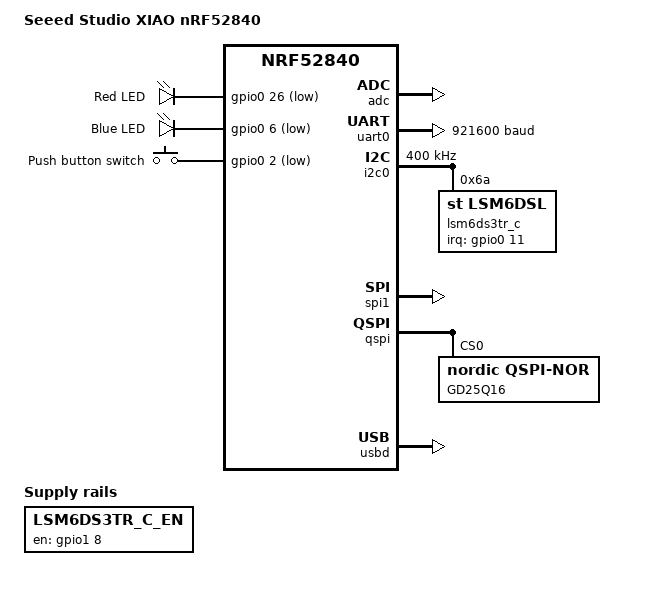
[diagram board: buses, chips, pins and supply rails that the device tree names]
/*
 * Copyright (c) 2020 Tobias Svehagen
 *
 * SPDX-License-Identifier: Apache-2.0
 */

/dts-v1/;
#include <nordic/nrf52840_qiaa.dtsi>
#include <zephyr/dt-bindings/i2c/i2c.h>
#include <zephyr/dt-bindings/gpio/nordic-nrf-gpio.h>
#include "seeed_xiao_nrf52840-pinctrl.dtsi"

/ {
	model = "Seeed Studio XIAO nRF52840";
	compatible = "seeed,xiao-nrf52840";

	chosen {
		zephyr,console = &uart0;
		zephyr,shell-uart = &uart0;
		zephyr,uart-mcumgr = &uart0;
		zephyr,bt-mon-uart = &uart0;
		zephyr,bt-c2h-uart = &uart0;
		zephyr,sram = &sram0;
		zephyr,flash = &flash0;
		zephyr,code-partition = &code_partition;
	};

	leds {
		compatible = "gpio-leds";
		led0: led_0 {
			gpios = <&gpio0 26 GPIO_ACTIVE_LOW>;
			label = "Red LED";
		};
		led1: led_1 {
			gpios = <&gpio0 6 GPIO_ACTIVE_LOW>;
			label = "Blue LED";
		};
	};

	buttons {
		compatible = "gpio-keys";
		button0: button_0 {
			gpios = <&gpio0 2 (GPIO_PULL_UP | GPIO_ACTIVE_LOW)>;
			label = "Push button switch";
		};
	};

	/* These aliases are provided for compatibility with samples */
	aliases {
		led0 = &led0;
		led1 = &led1;
		sw0 = &button0;
		accel0 = &lsm6ds3tr_c;
	};

	lsm6ds3tr-c-en {
		compatible = "regulator-fixed-sync", "regulator-fixed";
		enable-gpios = <&gpio1 8 (NRF_GPIO_DRIVE_S0H1 | GPIO_ACTIVE_HIGH)>;
		regulator-name = "LSM6DS3TR_C_EN";
		regulator-boot-on;
		regulator-always-on;
		startup-delay-us = <10000>;
	};
};

&adc {
	status = "okay";
};

&gpiote {
	status = "okay";
};

&gpio0 {
	status = "okay";
};

&gpio1 {
	status = "okay";
};

&uart0 {
	compatible = "nordic,nrf-uart";
	current-speed = <921600>;
	status = "okay";
	pinctrl-0 = <&uart0_default>;
	pinctrl-1 = <&uart0_sleep>;
	pinctrl-names = "default", "sleep";
};

&i2c0 {
	compatible = "nordic,nrf-twim";
	/* Cannot be used together with spi0. */
	status = "okay";
	pinctrl-0 = <&i2c0_default>;
	pinctrl-1 = <&i2c0_sleep>;
	pinctrl-names = "default", "sleep";
	clock-frequency = <I2C_BITRATE_FAST>;
	
	zephyr,concat-buf-size = <48>;

	lsm6ds3tr_c: lsm6ds3tr-c@6a {
		compatible = "st,lsm6dsl";
		reg = <0x6a>;
		irq-gpios = <&gpio0 11 GPIO_ACTIVE_HIGH>;
		status = "okay";
	};
};

&spi1 {
	compatible = "nordic,nrf-spi";
	status = "okay";
	pinctrl-0 = <&spi1_default>;
	pinctrl-1 = <&spi1_sleep>;
	pinctrl-names = "default", "sleep";
};

&qspi {
	status = "okay";
	pinctrl-0 = <&qspi_default>;
	pinctrl-1 = <&qspi_sleep>;
	pinctrl-names = "default", "sleep";
	gd25q16: gd25q16@0 {
		compatible = "nordic,qspi-nor";
		reg = <0>;
		writeoc = "pp4o";
		readoc = "read4io";
		sck-frequency = <16000000>;
		label = "GD25Q16";
		jedec-id = [c8 40 15];
		size = <16777216>;
		has-dpd;
		t-enter-dpd = <20000>;
		t-exit-dpd = <20000>;
		quad-enable-requirements = "S2B1v1";
	};
};

&flash0 {

	partitions {
		compatible = "fixed-partitions";
		#address-cells = <1>;
		#size-cells = <1>;

        sd_partition: partition@0 {
            label = "softdevice";
            reg = <0x00000000 0x00027000>;
        };

        code_partition: partition@27000 {
            label = "code_partition";
            reg = <0x00027000 0x000c5000>;
        };

        storage_partition: partition@ec000 {
            label = "storage";
            reg = <0x000ec000 0x00008000>;
        };

        boot_partition: partition@f4000 {
            label = "adafruit_boot";
            reg = <0x000f4000 0x0000c000>;
        };
	};
};

zephyr_udc0: &usbd {
	compatible = "nordic,nrf-usbd";
	status = "okay";
};
